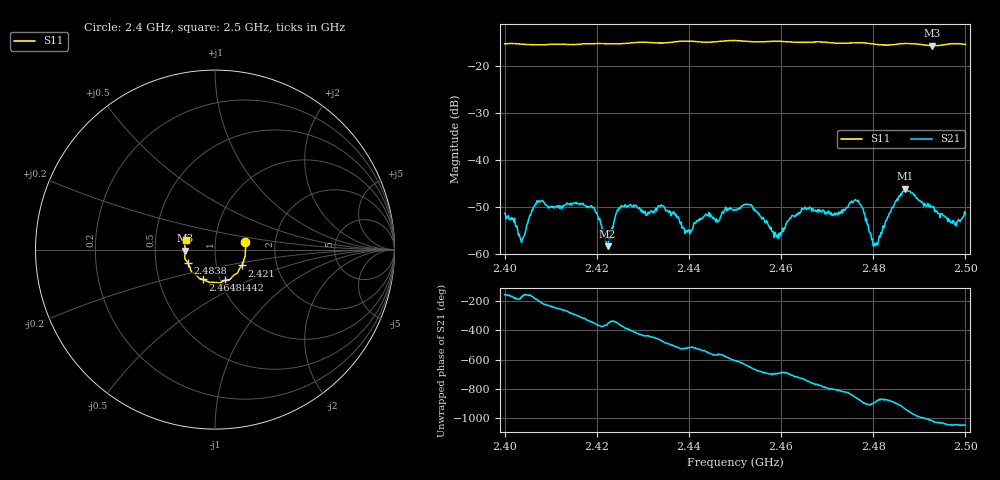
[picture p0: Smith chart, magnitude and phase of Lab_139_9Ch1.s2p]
# Hz S RI R 50
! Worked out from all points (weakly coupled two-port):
!   601 points, 2.4 GHz to 2.5 GHz, reference 50 ohm
!   highest |S21| = -46.07 dB at 2.487 GHz (marker M1); lowest = -58.4 dB at 2.4223 GHz (marker M2)
!   lowest |S11| = -15.6 dB at 2.4928 GHz (marker M3), VSWR 1.40, Z = 35.8 - j0.373 ohm
!   |S11| at or under -10 dB: start of sweep to end of sweep
!   S12 and S22 are empty: the file has one direction only
!   S11 on the Smith chart (normalised r, x): 2.4 GHz: 1.40, +0.12; 2.421 GHz: 1.33, -0.24; 2.4442 GHz: 1.05, -0.37; 2.4648 GHz: 0.83, -0.28; 2.4838 GHz: 0.73, -0.11; 2.5 GHz: 0.72, +0.08
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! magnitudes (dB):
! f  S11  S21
! 2.4 GHz  -15.2  -51.4
! 2.4038 GHz  -15.3  -56.9
! 2.4072 GHz  -15.4  -48.8
! 2.4167 GHz  -15.3  -49.3
! 2.421 GHz  -15.2  -53.8
! 2.4223 GHz  -15.2  -58.4
! 2.425 GHz  -15.2  -50.3
! 2.4333 GHz  -15.0  -49.8
! 2.4397 GHz  -14.6  -55.4
! 2.4442 GHz  -14.9  -51.7
! 2.45 GHz  -14.5  -50.5
! 2.4533 GHz  -14.7  -49.6
! 2.4595 GHz  -14.7  -55.7
! 2.4648 GHz  -14.9  -50.5
! 2.4667 GHz  -14.8  -50.9
! 2.4765 GHz  -15.0  -48.8
! 2.4805 GHz  -15.3  -58.0
! 2.4833 GHz  -15.5  -51.9
! 2.4838 GHz  -15.4  -50.9
! 2.487 GHz  -15.1  -46.1
! 2.4928 GHz  -15.6  -50.1
! 2.5 GHz  -15.3  -51.5
